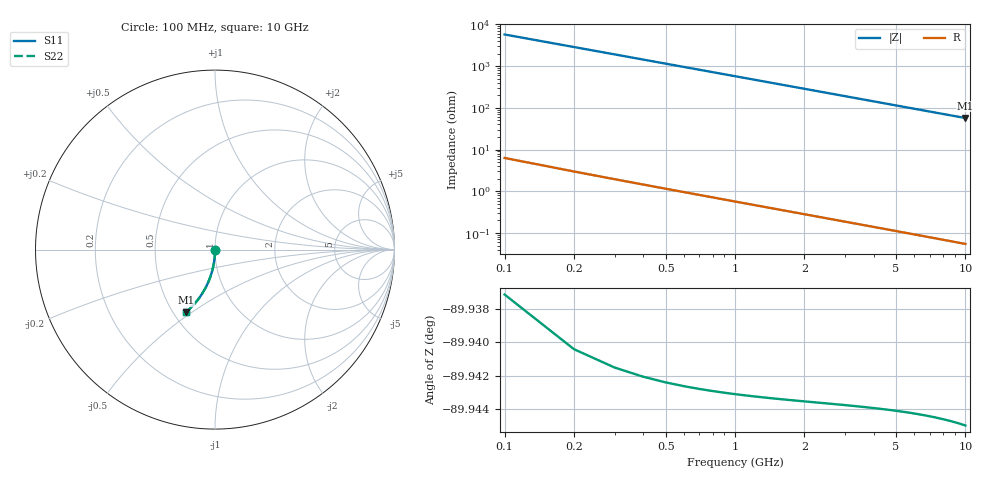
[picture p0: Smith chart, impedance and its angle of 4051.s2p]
# Hz S RI R 50.00
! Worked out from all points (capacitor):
!   100 points, 100 MHz to 10 GHz, reference 50 ohm
!   read as one part in shunt: C = 278 fF near 100 MHz
!   lowest |Z| = 57 ohm at 10 GHz (marker M1)
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1e8  3.77e-05 -0.00416  0.9999 -0.00455  0.9999 -0.00455  3.77e-05 -0.00416
2e8  -2.31e-05 -0.00833  0.9999 -0.00911  0.9999 -0.00911  -2.31e-05 -0.00833
3e8  -0.000122 -0.0125  0.9998 -0.0137  0.9998 -0.0137  -0.000122 -0.0125
4e8  -0.000259 -0.0167  0.9996 -0.0182  0.9996 -0.0182  -0.000259 -0.0167
5e8  -0.000433 -0.0208  0.9994 -0.0228  0.9994 -0.0228  -0.000433 -0.0208
6e8  -0.000646 -0.025  0.9992 -0.0273  0.9992 -0.0273  -0.000646 -0.025
7e8  -0.000896 -0.0291  0.999 -0.0319  0.999 -0.0319  -0.000896 -0.0291
8e8  -0.00118 -0.0333  0.9987 -0.0364  0.9987 -0.0364  -0.00118 -0.0333
9e8  -0.00151 -0.0374  0.9984 -0.0409  0.9984 -0.0409  -0.00151 -0.0374
1.1e9  -0.00228 -0.0457  0.9976 -0.05  0.9976 -0.05  -0.00228 -0.0457
1.4e9  -0.00371 -0.0581  0.9962 -0.0636  0.9962 -0.0636  -0.00371 -0.0581
1.8e9  -0.00614 -0.0746  0.9937 -0.0816  0.9937 -0.0816  -0.00614 -0.0746
2.1e9  -0.00835 -0.0868  0.9915 -0.095  0.9915 -0.095  -0.00835 -0.0868
2.5e9  -0.0118 -0.103  0.988 -0.1128  0.988 -0.1128  -0.0118 -0.103
2.9e9  -0.0158 -0.119  0.984 -0.1304  0.984 -0.1304  -0.0158 -0.119
3.4e9  -0.0217 -0.1388  0.9781 -0.1521  0.9781 -0.1521  -0.0217 -0.1388
4.2e9  -0.0328 -0.1696  0.967 -0.1861  0.967 -0.1861  -0.0328 -0.1696
5.1e9  -0.0477 -0.2029  0.952 -0.223  0.952 -0.223  -0.0477 -0.2029
5.9e9  -0.0629 -0.2311  0.9367 -0.2543  0.9367 -0.2543  -0.0629 -0.2311
6.7e9  -0.0799 -0.2577  0.9196 -0.2842  0.9196 -0.2842  -0.0799 -0.2577
8.4e9  -0.1206 -0.3089  0.8787 -0.3422  0.8787 -0.3422  -0.1206 -0.3089
1e10  -0.1634 -0.3497  0.8357 -0.3896  0.8357 -0.3896  -0.1634 -0.3497
